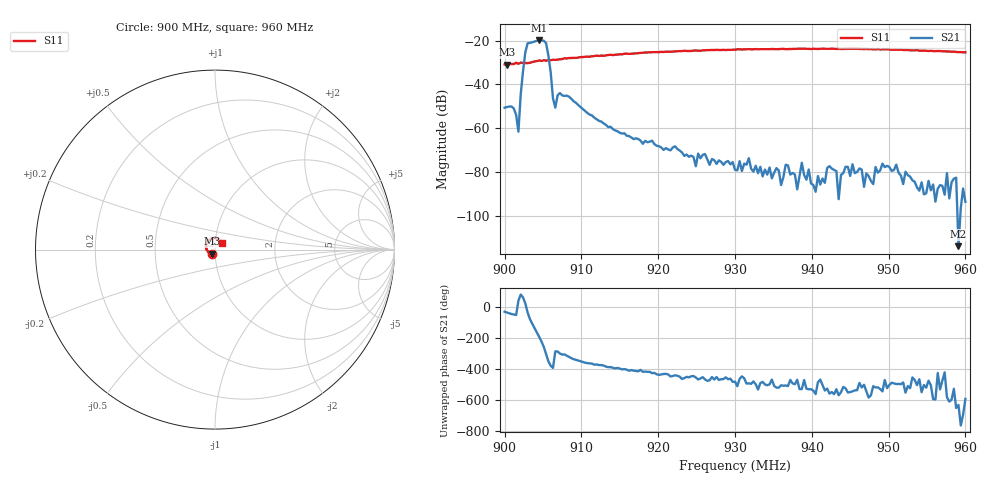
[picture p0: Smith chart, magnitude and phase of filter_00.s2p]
!File created by NanoVNA-F V2
# Hz S RI R 50
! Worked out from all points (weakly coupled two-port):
!   201 points, 900 MHz to 960 MHz, reference 50 ohm
!   highest |S21| = -19.93 dB at 904.5 MHz (marker M1); lowest = -114.0 dB at 959.1 MHz (marker M2)
!   lowest |S11| = -31.0 dB at 900.3 MHz (marker M3), VSWR 1.06, Z = 48.4 - j2.24 ohm
!   |S11| at or under -10 dB: start of sweep to end of sweep
!   S12 and S22 are empty: the file has one direction only
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9e8  -0.015 -0.0241  0.00255 -0.00142  0 0  0 0
9.003e8  -0.0159 -0.0231  0.00251 -0.0017  0 0  0 0
9.012e8  -0.0182 -0.0227  0.00193 -0.00204  0 0  0 0
9.018e8  -0.0194 -0.0223  0.000611 0.00056  0 0  0 0
9.021e8  -0.0212 -0.023  0.000859 0.00593  0 0  0 0
9.027e8  -0.0223 -0.0211  0.05 0.022  0 0  0 0
9.045e8  -0.029 -0.0199  -0.099 0.0189  0 0  0 0
9.054e8  -0.0302 -0.0173  0.0461 0.0739  0 0  0 0
9.066e8  -0.0327 -0.0157  0.000745 0.00284  0 0  0 0
9.072e8  -0.0342 -0.0146  0.00298 0.00558  0 0  0 0
9.102e8  -0.0413 -0.00844  0.00268 0.000336  0 0  0 0
9.201e8  -0.05 0.0215  9.2e-05 -0.000374  0 0  0 0
9.249e8  -0.0475 0.0357  -7e-06 -0.000134  0 0  0 0
9.3e8  -0.0394 0.0483  -5.5e-05 -9.7e-05  0 0  0 0
9.318e8  -0.0363 0.0523  -0.000134 -0.000156  0 0  0 0
9.324e8  -0.0337 0.0537  -4.8e-05 -8.9e-05  0 0  0 0
9.384e8  -0.0182 0.0628  -7.9e-05 -1.7e-05  0 0  0 0
9.387e8  -0.0178 0.0627  -0.000158 -3.3e-05  0 0  0 0
9.402e8  -0.0132 0.0639  -5e-05 -2e-06  0 0  0 0
9.501e8  0.0149 0.061  -0.000101 -8.1e-05  0 0  0 0
9.591e8  0.0357 0.0414  0 2e-06  0 0  0 0
9.6e8  0.0374 0.0386  -1.3e-05 1.6e-05  0 0  0 0
